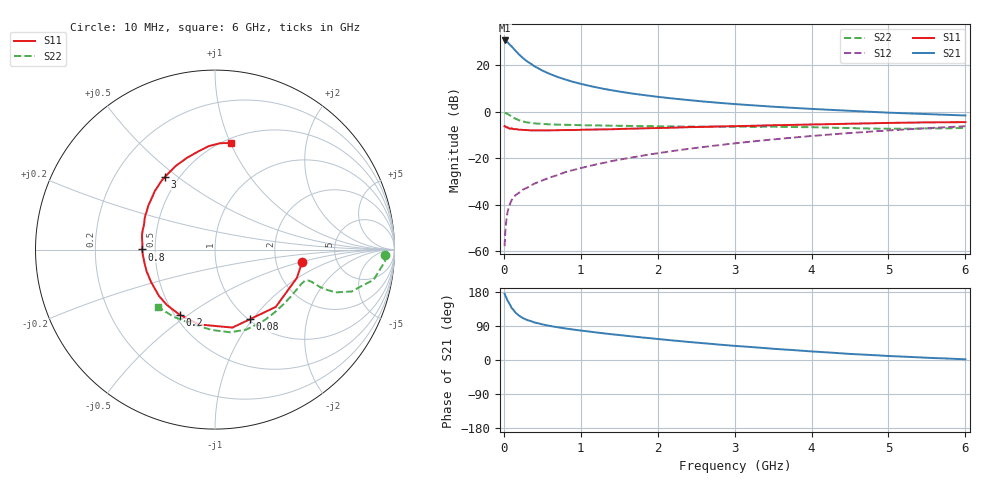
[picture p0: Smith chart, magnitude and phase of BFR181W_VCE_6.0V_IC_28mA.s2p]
! Infineon Technologies  Discrete & RF Semiconductors
! BFR181W
! VCE =  6.0 V,  IC =  28 mA
! Common Emitter S-Parameters:  Jan 2017
# GHz  S  MA  R  50
!  f  S11  S21  S12  S22
! GHz  MAG  ANG  MAG  ANG  MAG  ANG  MAG  ANG
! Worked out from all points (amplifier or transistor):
!   77 points, 10 MHz to 6 GHz, reference 50 ohm
!   highest |S21| = 30.7 dB at 10 MHz (marker M1)
!   |S21| within 3 dB of that: start of sweep to 113.3 MHz
!   unconditionally stable (mu >= 1): 431.4 MHz to 2.438 GHz
!   at 130 MHz: K = 0.53, MSG = 31.8 dB, |S12| = -36.7 dB
!   at 2.2 GHz: K = 1.04, MAG = 10.1 dB, |S12| = -16.8 dB
!   at 6 GHz: K = 0.86, MSG = 2.3 dB, |S12| = -6.2 dB
!   S11 on the Smith chart (normalised r, x): 10 MHz: 2.82, -0.51; 80 MHz: 1.01, -0.97; 200 MHz: 0.53, -0.46; 800 MHz: 0.42, +0.00; 3 GHz: 0.42, +0.45; 6 GHz: 0.54, +1.01
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0.01  0.4908 -8.0  34.1 175.2  0.0013 88.4  0.9484 -1.7
0.02  0.4826 -19.1  33.62 169.7  0.0028 92.0  0.9485 -4.1
0.05  0.4654 -43.3  31.15 156.2  0.0072 75.0  0.8998 -10.7
0.08  0.434 -63.5  27.42 145.9  0.0104 69.9  0.8359 -14.3
0.1  0.4452 -77.4  25.55 137.6  0.0126 67.9  0.7954 -17.1
0.15  0.4265 -102.1  20.65 125.3  0.0161 62.3  0.7129 -19.5
0.2  0.4128 -118.5  16.9 116.6  0.0184 62.2  0.6563 -19.8
0.25  0.409 -131.0  14.2 110.4  0.0214 63.1  0.6194 -19.6
0.3  0.4051 -140.5  12.18 105.7  0.0233 63.7  0.5937 -19.0
0.4  0.3994 -153.3  9.461 98.9  0.0288 66.3  0.5644 -18.4
0.5  0.3998 -162.4  7.682 94.0  0.0336 68.5  0.5482 -18.3
0.6  0.4 -169.5  6.479 89.9  0.039 71.0  0.5382 -18.5
0.7  0.4027 -175.2  5.597 86.4  0.0437 73.1  0.5307 -19.0
0.8  0.4061 179.9  4.936 83.2  0.0507 75.1  0.5258 -19.9
1.1  0.4149 168.4  3.648 75.3  0.0677 77.3  0.5141 -23.2
1.5  0.4279 156.5  2.726 65.9  0.0936 77.9  0.5006 -29.0
2.1  0.4522 141.9  2.012 53.5  0.1364 77.1  0.4866 -40.0
3  0.4923 124.4  1.467 37.3  0.2099 72.4  0.4789 -58.8
3.1  0.4957 122.5  1.429 35.9  0.2189 71.6  0.4776 -60.8
4.1  0.5379 105.5  1.133 21.4  0.3117 62.8  0.4625 -82.1
5.1  0.5801 92.2  0.946 9.7  0.4072 51.9  0.4325 -109.8
6  0.6009 81.4  0.833 1.9  0.4906 41.2  0.4513 -135.1
